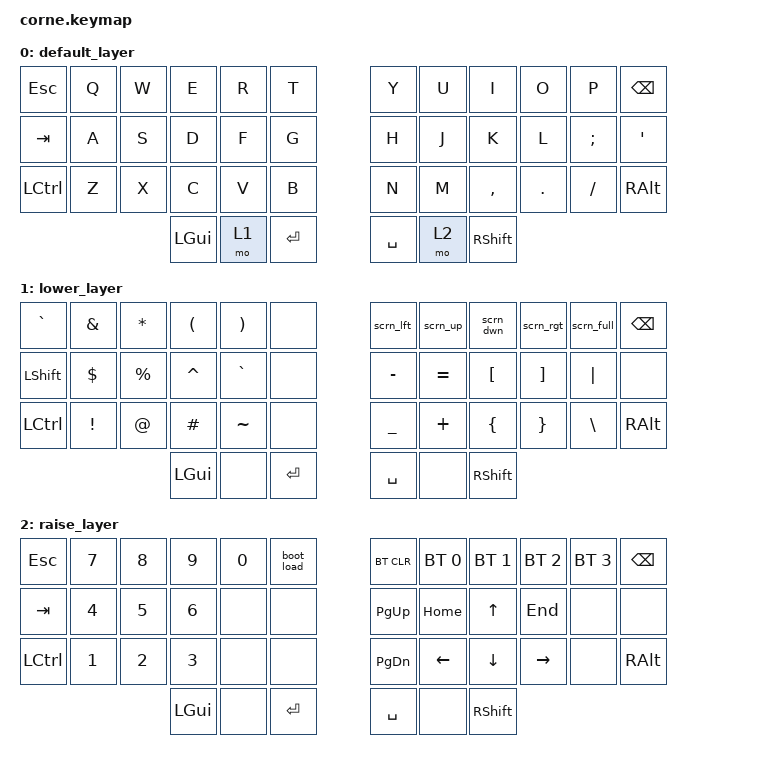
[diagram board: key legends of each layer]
/*
 * Copyright (c) 2020 The ZMK Contributors
 *
 * SPDX-License-Identifier: MIT
 */

#include <behaviors.dtsi>
#include <dt-bindings/zmk/keys.h>
#include <dt-bindings/zmk/bt.h>

/ {

        macros {
                scrn_rgt: scrn_rgt {
                        label = "scrn_rgt"; 
                        compatible = "zmk,behavior-macro";
                        #binding-cells = <0>;
                        bindings
                                = <&macro_press &kp LCTRL &kp RALT &kp LGUI &kp RIGHT>
                                , <&macro_release &kp LCTRL &kp RALT &kp LGUI &kp RIGHT>;
                };

                scrn_lft: scrn_lft {
                        label = "scrn_lft";
                        compatible = "zmk,behavior-macro";
                        #binding-cells = <0>;
                        bindings
                                = <&macro_press &kp LCTRL &kp RALT &kp LGUI &kp LEFT>
                                , <&macro_release &kp LCTRL &kp RALT &kp LGUI &kp LEFT>;
                };

                scrn_up: scrn_up {
                        label = "scrn_up";
                        compatible = "zmk,behavior-macro";
                        #binding-cells = <0>;
                        bindings
                                = <&macro_press &kp LCTRL &kp RALT &kp LGUI &kp UP>
                                , <&macro_release &kp LCTRL &kp RALT &kp LGUI &kp UP>;
                };

                scrn_dwn: scrn_dwn {
                        label = "scrn_dwn";
                        compatible = "zmk,behavior-macro";
                        #binding-cells = <0>;
                        bindings
                                = <&macro_press &kp LCTRL &kp RALT &kp LGUI &kp DOWN>
                                , <&macro_release &kp LCTRL &kp RALT &kp LGUI &kp DOWN>;
                };

                scrn_full: scrn_full {
                        label = "scrn_full";
                        compatible = "zmk,behavior-macro";
                        #binding-cells = <0>;
                        bindings
                                = <&macro_press &kp LCTRL &kp RALT &kp LGUI &kp M>
                                , <&macro_release &kp LCTRL &kp RALT &kp LGUI &kp M>;
                };

                boot_load: boot_load {
                        label = "boot_load";
                        compatible = "zmk,behavior-macro";
                        #binding-cells = <0>;
                        bindings
                                = <&macro_wait_time 3000>
                                , <&macro_tap &bootloader>;  
                };
        };

        keymap {
                compatible = "zmk,keymap";

                default_layer {
// -----------------------------------------------------------------------------------------
// | ESC  |  Q  |  W  |  E  |  R  |  T  |   |  Y  |  U   |  I   |  O  |  P  | BKSP |
// | TAB  |  A  |  S  |  D  |  F  |  G  |   |  H  |  J   |  K   |  L  |  ;  |  '   |
// | CTRL |  Z  |  X  |  C  |  V  |  B  |   |  N  |  M   |  ,   |  .  |  /  | ALT  |
//                    | GUI | LWR | ENT |   | SPC | RSE  | SHFT |
                        bindings = <
   &kp ESC   &kp Q &kp W &kp E    &kp R &kp T     &kp Y     &kp U &kp I     &kp O   &kp P    &kp BSPC
   &kp TAB   &kp A &kp S &kp D    &kp F &kp G     &kp H     &kp J &kp K     &kp L   &kp SEMI &kp SQT
   &kp LCTRL &kp Z &kp X &kp C    &kp V &kp B     &kp N     &kp M &kp COMMA &kp DOT &kp FSLH &kp RALT
                         &kp LGUI &mo 1 &kp RET   &kp SPACE &mo 2 &kp RSHFT
                        >;
                };
                lower_layer {
// -----------------------------------------------------------------------------------------
// | ESC    |  &  |  *  |  (  |  )  |     |   | SCRN_LFT | SCRN_UP  | SCRN_DWN | SCRN_RGT | SCRN_FULL | BKSP |
// | SHFIFT |  $  |  %  |  ^  |  `  |     |   |     -    |     =    |    [     |     ]    |     |     |      |
// | CTRL   |  !  |  @  |  #  |  ~  |     |   |     _    |     +    |    {     |     }    |     \     |  ALT |
//                    | GUI |     | ENT |   |    SPC   |          |   SHFT   |
                        bindings = <
   &kp GRAVE &kp AMPS &kp ASTRK &kp LPAR  &kp RPAR  &none     &scrn_lft &scrn_up  &scrn_dwn &scrn_rgt &scrn_full &kp BSPC
   &kp LSHFT &kp DLLR &kp PRCNT &kp CARET &kp GRAVE &none     &kp MINUS &kp EQUAL &kp LBKT  &kp RBKT  &kp PIPE   &none
   &kp LCTRL &kp EXCL &kp AT    &kp HASH  &kp TILDE &none     &kp UNDER &kp PLUS  &kp LBRC  &kp RBRC  &kp BSLH   &kp RALT
                                &kp LGUI  &none     &kp RET   &kp SPACE &none     &kp RSHFT
                        >;
                };

                raise_layer {
// -----------------------------------------------------------------------------------------
// | ESC  |  7  |  8  |  9  |  0  | boot_load |   | BT_CLR | BT_1 |  BT_2 | BT_3 | BT_4 | BKSP |
// | TAB  |  4  |  5  |  6  |     |           |   | PG_UP  | HOME |  UP   | END  |      |      |
// | CTRL |  1  |  2  |  3  |     |           |   | PG_DWN | LFT  |  DWN  | RGT  |      | ALT  |
//                    | GUI |     |    ENT    |   | SPC    |      | SHFT  |
                        bindings = <
   &kp ESC   &kp N7 &kp N8 &kp N9   &kp N0 &boot_load   &bt BT_CLR &bt BT_SEL 0 &bt BT_SEL 1 &bt BT_SEL 2 &bt BT_SEL 3 &kp BSPC
   &kp TAB   &kp N4 &kp N5 &kp N6   &none  &none        &kp PG_UP  &kp HOME     &kp UP       &kp END      &none       &none
   &kp LCTRL &kp N1 &kp N2 &kp N3   &none  &none        &kp PG_DN  &kp LEFT     &kp DOWN     &kp RIGHT    &none       &kp RALT
                           &kp LGUI &none  &kp RET      &kp SPACE  &none        &kp RSHFT
                        >;
                };
        };
};
